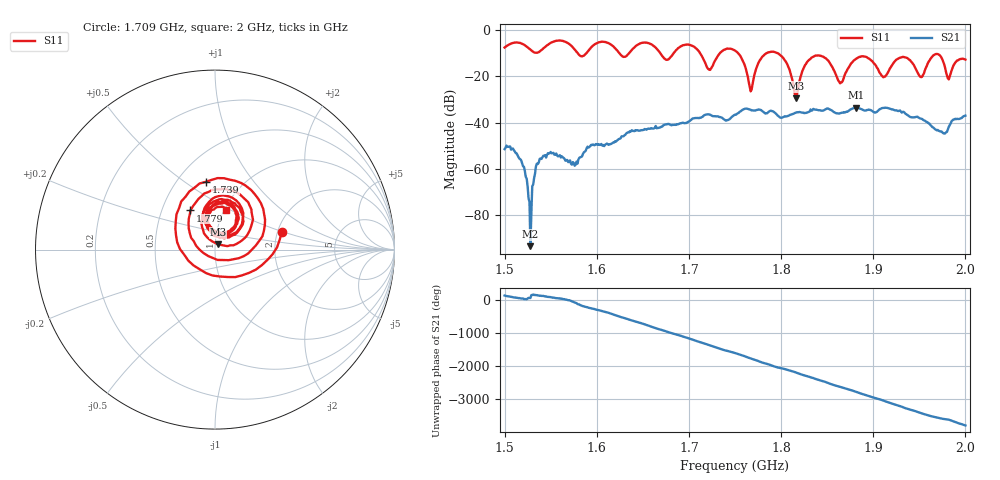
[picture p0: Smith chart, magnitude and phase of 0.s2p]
! NanoVNA-App by SYSJOINT et al v1.1.209 (+OD18)
! Date: 2026-01-21 14:22:42
! Start: 1,5GHz Stop: 2GHz Points: 501
! S-Parameter data: F S11 S21 S12 S22
# Hz S RI R 50
!  Frequency  S11_Real  S11_Imag  S21_Real  S21_Imag  S12_Real  S12_Imag  S22_Real  S22_Imag
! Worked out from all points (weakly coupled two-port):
!   501 points, 1.5 GHz to 2 GHz, reference 50 ohm
!   highest |S21| = -33.45 dB at 1.881 GHz (marker M1); lowest = -93.3 dB at 1.528 GHz (marker M2)
!   lowest |S11| = -29.5 dB at 1.816 GHz (marker M3), VSWR 1.07, Z = 51.6 + j2.98 ohm
!   |S11| at or under -10 dB: 1.712 GHz to 1.733 GHz (21.23 MHz wide, 1.23 % of centre); 1.754 GHz to 1.784 GHz (30.32 MHz wide, 1.71 % of centre); 1.797 GHz to end of sweep (the widest 3 of 6)
!   S12 and S22 are empty: the file has one direction only
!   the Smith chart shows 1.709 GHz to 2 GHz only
!   S11 on the Smith chart (normalised r, x): 1.709 GHz: 2.11, +0.47; 1.739 GHz: 0.69, +0.61; 1.779 GHz: 0.70, +0.33; 2 GHz: 1.02, +0.48
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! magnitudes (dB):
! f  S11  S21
! 1.5 GHz  -7.5  -51.4
! 1.519 GHz  -5.8  -57.5
! 1.528 GHz  -8.4  -93.3
! 1.54 GHz  -8.6  -55.6
! 1.584 GHz  -11.3  -54.6
! 1.606 GHz  -5.0  -49.9
! 1.667 GHz  -8.9  -42.2
! 1.709 GHz  -8.3  -37.9
! 1.722 GHz  -17.1  -36.5
! 1.739 GHz  -8.4  -38.8
! 1.75 GHz  -8.8  -36.5
! 1.767 GHz  -26.4  -34.4
! 1.779 GHz  -11.8  -34.8
! 1.801 GHz  -11.4  -37.8
! 1.816 GHz  -29.5  -35.7
! 1.834 GHz  -11.7  -34.6
! 1.864 GHz  -23.0  -35.9
! 1.881 GHz  -12.5  -33.4
! 1.917 GHz  -17.5  -33.8
! 1.977 GHz  -14.7  -44.7
! 1.982 GHz  -21.2  -41.8
! 2 GHz  -12.7  -36.9
